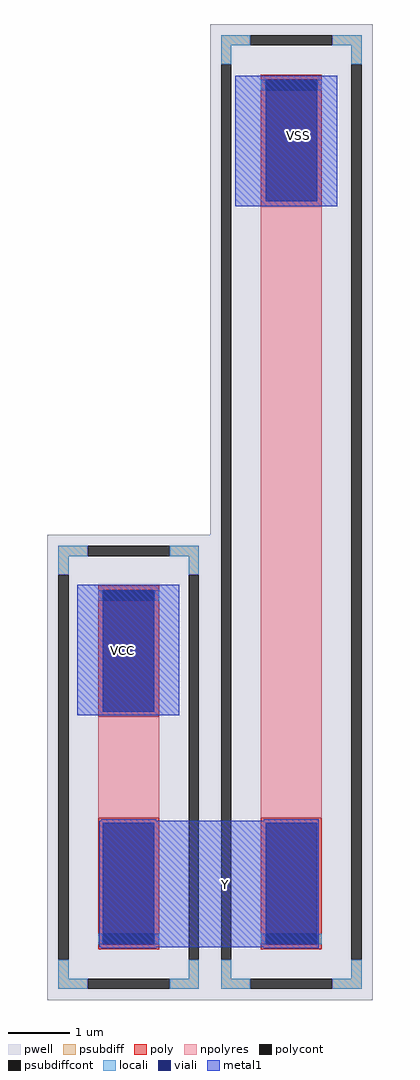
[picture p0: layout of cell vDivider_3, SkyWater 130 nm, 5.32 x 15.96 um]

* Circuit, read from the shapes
.subckt vDivider_3 VCC VSS Y
R1 VCC Y sky130_fd_pr__res_generic_po w=1 l=1.65
R2 VSS Y sky130_fd_pr__res_generic_po w=1 l=10
.ends

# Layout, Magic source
magic
tech sky130B
magscale 1 2
<< metal1 >>
rect 508 3090 842 3516
rect -8 1426 326 1852
rect 64 666 782 1080
use sky130_fd_pr__res_generic_po_F2H9F4  R1
transform 1 0 692 0 1 2090
box -266 -1596 266 1596
use sky130_fd_pr__res_generic_po_4WEV9M  R3
transform 1 0 160 0 1 1255
box -266 -761 266 761
<< labels >>
flabel metal1 378 772 578 972 0 FreeSans 256 0 0 0 Y
port 2 nsew
flabel metal1 614 3222 814 3422 0 FreeSans 256 0 0 0 VSS
port 1 nsew
flabel metal1 40 1536 240 1736 0 FreeSans 256 0 0 0 VCC
port 0 nsew
<< end >>

# cell sky130_fd_pr__res_generic_po_F2H9F4: kit device sky130_fd_pr__res_generic_po, w 1.0 l 10.0 m 1 nx 1 wmin 0.330 lmin 1.650 rho 48.2 val 482.0 dummy 0 dw 0.0 term 0.0 sterm 0.0 caplen 0.4 snake 0 guard 1 glc 1 grc 1 gtc 1 gbc 1 roverlap 0 endcov 100 full_metal 1 hv_guard 0 n_guard 0 vias 1 viagb 0 viagt 0 viagl 0 viagr 0

# cell sky130_fd_pr__res_generic_po_4WEV9M: kit device sky130_fd_pr__res_generic_po, w 1.0 l 1.650 m 1 nx 1 wmin 0.330 lmin 1.650 rho 48.2 val 48.2 dummy 0 dw 0.0 term 0.0 sterm 0.0 caplen 0.4 snake 0 guard 1 glc 1 grc 1 gtc 1 gbc 1 roverlap 0 endcov 100 full_metal 1 hv_guard 0 n_guard 0 vias 1 viagb 0 viagt 0 viagl 0 viagr 0
